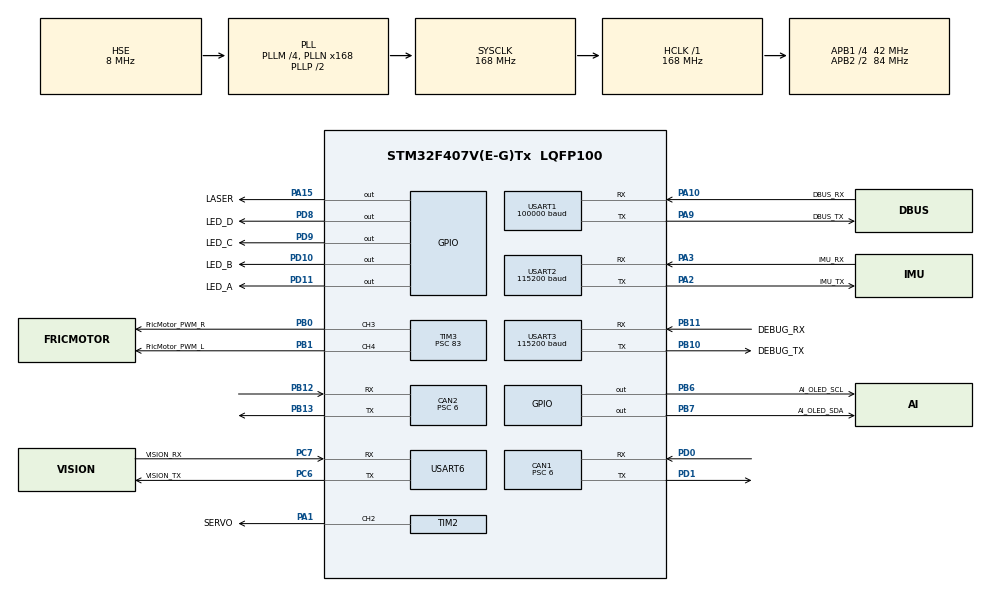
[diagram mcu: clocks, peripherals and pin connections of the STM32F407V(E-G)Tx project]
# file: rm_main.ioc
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CAN1.ABOM=ENABLE
CAN1.BS1=CAN_BS1_3TQ
CAN1.BS2=CAN_BS2_3TQ
CAN1.CalculateTimeQuantum=142.85714285714286
CAN1.Prescaler=6
CAN1.SJW=CAN_SJW_1TQ
CAN2.ABOM=ENABLE
CAN2.BS1=CAN_BS1_3TQ
CAN2.BS2=CAN_BS2_3TQ
CAN2.CalculateTimeQuantum=142.85714285714286
CAN2.Prescaler=6
Dma.Request0=USART1_RX
Dma.Request1=USART2_RX
Dma.Request2=USART6_RX
Dma.Request3=USART3_RX
Dma.Request4=USART3_TX
Dma.USART1_RX.0.Direction=DMA_PERIPH_TO_MEMORY
Dma.USART1_RX.0.FIFOMode=DMA_FIFOMODE_DISABLE
Dma.USART1_RX.0.Instance=DMA2_Stream2
Dma.USART1_RX.0.MemDataAlignment=DMA_MDATAALIGN_BYTE
Dma.USART1_RX.0.MemInc=DMA_MINC_ENABLE
Dma.USART1_RX.0.Mode=DMA_NORMAL
Dma.USART1_RX.0.PeriphDataAlignment=DMA_PDATAALIGN_BYTE
Dma.USART1_RX.0.PeriphInc=DMA_PINC_DISABLE
Dma.USART1_RX.0.Priority=DMA_PRIORITY_LOW
Dma.USART2_RX.1.Direction=DMA_PERIPH_TO_MEMORY
Dma.USART2_RX.1.FIFOMode=DMA_FIFOMODE_DISABLE
Dma.USART2_RX.1.Instance=DMA1_Stream5
Dma.USART2_RX.1.MemDataAlignment=DMA_MDATAALIGN_BYTE
Dma.USART2_RX.1.MemInc=DMA_MINC_ENABLE
Dma.USART2_RX.1.Mode=DMA_NORMAL
Dma.USART2_RX.1.PeriphDataAlignment=DMA_PDATAALIGN_BYTE
Dma.USART2_RX.1.PeriphInc=DMA_PINC_DISABLE
Dma.USART2_RX.1.Priority=DMA_PRIORITY_LOW
Dma.USART3_RX.3.Direction=DMA_PERIPH_TO_MEMORY
Dma.USART3_RX.3.FIFOMode=DMA_FIFOMODE_DISABLE
Dma.USART3_RX.3.Instance=DMA1_Stream1
Dma.USART3_RX.3.MemDataAlignment=DMA_MDATAALIGN_BYTE
Dma.USART3_RX.3.MemInc=DMA_MINC_ENABLE
Dma.USART3_RX.3.Mode=DMA_NORMAL
Dma.USART3_RX.3.PeriphDataAlignment=DMA_PDATAALIGN_BYTE
Dma.USART3_RX.3.PeriphInc=DMA_PINC_DISABLE
Dma.USART3_RX.3.Priority=DMA_PRIORITY_LOW
Dma.USART3_TX.4.Direction=DMA_MEMORY_TO_PERIPH
Dma.USART3_TX.4.FIFOMode=DMA_FIFOMODE_DISABLE
Dma.USART3_TX.4.Instance=DMA1_Stream3
Dma.USART3_TX.4.MemDataAlignment=DMA_MDATAALIGN_BYTE
Dma.USART3_TX.4.MemInc=DMA_MINC_ENABLE
Dma.USART3_TX.4.Mode=DMA_NORMAL
Dma.USART3_TX.4.PeriphDataAlignment=DMA_PDATAALIGN_BYTE
Dma.USART3_TX.4.PeriphInc=DMA_PINC_DISABLE
Dma.USART3_TX.4.Priority=DMA_PRIORITY_LOW
Dma.USART6_RX.2.Direction=DMA_PERIPH_TO_MEMORY
Dma.USART6_RX.2.FIFOMode=DMA_FIFOMODE_DISABLE
Dma.USART6_RX.2.Instance=DMA2_Stream1
Dma.USART6_RX.2.MemDataAlignment=DMA_MDATAALIGN_BYTE
Dma.USART6_RX.2.MemInc=DMA_MINC_ENABLE
Dma.USART6_RX.2.Mode=DMA_NORMAL
Dma.USART6_RX.2.PeriphDataAlignment=DMA_PDATAALIGN_BYTE
Dma.USART6_RX.2.PeriphInc=DMA_PINC_DISABLE
Dma.USART6_RX.2.Priority=DMA_PRIORITY_LOW
FREERTOS.INCLUDE_vTaskDelayUntil=1
FREERTOS.Tasks01=defaultTask,0,128,StartDefaultTask,Default,NULL
FREERTOS.configUSE_TIMERS=1
Mcu.Family=STM32F4
Mcu.Name=STM32F407V(E-G)Tx
Mcu.Package=LQFP100
NVIC.CAN1_RX0_IRQn=true\:5\:0\:false\:false\:true\:true\:true
NVIC.CAN1_TX_IRQn=true\:5\:0\:false\:false\:true\:true\:true
NVIC.CAN2_RX0_IRQn=true\:5\:0\:false\:false\:true\:true\:true
NVIC.CAN2_TX_IRQn=true\:5\:0\:false\:false\:true\:true\:true
NVIC.DMA1_Stream1_IRQn=true\:5\:0\:false\:false\:true\:true\:false
NVIC.DMA1_Stream3_IRQn=true\:5\:0\:false\:false\:true\:true\:false
NVIC.DMA1_Stream5_IRQn=true\:5\:0\:false\:false\:true\:true\:false
NVIC.DMA2_Stream1_IRQn=true\:5\:0\:false\:false\:true\:true\:false
NVIC.DMA2_Stream2_IRQn=true\:5\:0\:false\:false\:true\:true\:false
NVIC.PriorityGroup=NVIC_PRIORITYGROUP_4
NVIC.TIM1_UP_TIM10_IRQn=true\:0\:0\:false\:false\:true\:false\:false
NVIC.TimeBase=TIM1_UP_TIM10_IRQn
NVIC.TimeBaseIP=TIM10
NVIC.USART1_IRQn=true\:5\:0\:false\:false\:true\:true\:true
NVIC.USART2_IRQn=true\:5\:0\:false\:false\:true\:true\:true
NVIC.USART3_IRQn=true\:5\:0\:false\:false\:true\:true\:true
NVIC.USART6_IRQn=true\:5\:0\:false\:false\:true\:true\:true
PA1.GPIO_Label=SERVO
PA1.Signal=S_TIM2_CH2
PA10.GPIO_Label=DBUS_RX
PA10.Mode=Asynchronous
PA10.Signal=USART1_RX
PA13.Mode=Serial_Wire
PA13.Signal=SYS_JTMS-SWDIO
PA14.Mode=Serial_Wire
PA14.Signal=SYS_JTCK-SWCLK
PA15.GPIO_Label=LASER
PA15.Signal=GPIO_Output
PA2.GPIO_Label=IMU_TX
PA2.Mode=Asynchronous
PA2.Signal=USART2_TX
PA3.GPIO_Label=IMU_RX
PA3.Mode=Asynchronous
PA3.Signal=USART2_RX
PA9.GPIO_Label=DBUS_TX
PA9.Mode=Asynchronous
PA9.Signal=USART1_TX
PB0.GPIO_Label=FricMotor_PWM_R
PB0.Signal=S_TIM3_CH3
PB1.GPIO_Label=FricMotor_PWM_L
PB1.Signal=S_TIM3_CH4
PB10.GPIO_Label=DEBUG_TX
PB10.Mode=Asynchronous
PB10.Signal=USART3_TX
PB11.GPIO_Label=DEBUG_RX
PB11.Mode=Asynchronous
PB11.Signal=USART3_RX
PB12.Mode=Slave
PB12.Signal=CAN2_RX
PB13.Mode=Slave
PB13.Signal=CAN2_TX
PB6.GPIO_Label=AI_OLED_SCL
PB6.Signal=GPIO_Output
PB7.GPIO_Label=AI_OLED_SDA
PB7.Signal=GPIO_Output
PC6.GPIO_Label=VISION_TX
PC6.Mode=Asynchronous
PC6.Signal=USART6_TX
PC7.GPIO_Label=VISION_RX
PC7.Mode=Asynchronous
PC7.Signal=USART6_RX
PD0.Mode=Master
PD0.Signal=CAN1_RX
PD1.Mode=Master
PD1.Signal=CAN1_TX
PD10.GPIO_Label=LED_B
PD10.PinState=GPIO_PIN_SET
PD10.Signal=GPIO_Output
PD11.GPIO_Label=LED_A
PD11.GPIO_Speed=GPIO_SPEED_FREQ_LOW
PD11.PinState=GPIO_PIN_SET
PD11.Signal=GPIO_Output
PD8.GPIO_Label=LED_D
PD8.PinState=GPIO_PIN_SET
PD8.Signal=GPIO_Output
PD9.GPIO_Label=LED_C
PD9.PinState=GPIO_PIN_SET
PD9.Signal=GPIO_Output
PH0-OSC_IN.Mode=HSE-External-Oscillator
PH0-OSC_IN.Signal=RCC_OSC_IN
PH1-OSC_OUT.Mode=HSE-External-Oscillator
PH1-OSC_OUT.Signal=RCC_OSC_OUT
ProjectManager.HeapSize=0x1000
ProjectManager.StackSize=0x600
ProjectManager.TargetToolchain=MDK-ARM V5
RCC.48MHZClocksFreq_Value=48000000
RCC.AHBFreq_Value=168000000
RCC.APB1CLKDivider=RCC_HCLK_DIV4
RCC.APB1Freq_Value=42000000
RCC.APB1TimFreq_Value=84000000
RCC.APB2CLKDivider=RCC_HCLK_DIV2
RCC.APB2Freq_Value=84000000
RCC.APB2TimFreq_Value=168000000
RCC.CortexFreq_Value=168000000
RCC.HCLKFreq_Value=168000000
RCC.HSE_VALUE=8000000
RCC.HSI_VALUE=16000000
RCC.LSE_VALUE=32768
RCC.PLLM=4
RCC.PLLN=168
RCC.PLLQ=7
RCC.PLLSourceVirtual=RCC_PLLSOURCE_HSE
RCC.SYSCLKFreq_VALUE=168000000
RCC.SYSCLKSource=RCC_SYSCLKSOURCE_PLLCLK
RCC.VCOOutputFreq_Value=336000000
SH.S_TIM2_CH2.0=TIM2_CH2,PWM Generation2 CH2
SH.S_TIM3_CH3.0=TIM3_CH3,PWM Generation3 CH3
SH.S_TIM3_CH4.0=TIM3_CH4,PWM Generation4 CH4
TIM13.Period=19999
TIM13.Prescaler=83
TIM2.Channel-PWM\ Generation2\ CH2=TIM_CHANNEL_2
TIM2.Period=19999
TIM2.Prescaler=83
TIM3.Channel-PWM\ Generation3\ CH3=TIM_CHANNEL_3
TIM3.Channel-PWM\ Generation4\ CH4=TIM_CHANNEL_4
TIM3.Period=19999
TIM3.Prescaler=83
TIM3.Pulse-PWM\ Generation3\ CH3=800
TIM3.Pulse-PWM\ Generation4\ CH4=800
USART1.BaudRate=100000
USART1.VirtualMode=VM_ASYNC
USART2.BaudRate=115200
USART2.VirtualMode=VM_ASYNC
USART3.BaudRate=115200
USART3.VirtualMode=VM_ASYNC
USART6.VirtualMode=VM_ASYNC
VP_FREERTOS_VS_ENABLE.Mode=Enabled
VP_SYS_VS_tim10.Mode=TIM10
VP_TIM13_VS_ClockSourceINT.Mode=Enable_Timer
board=custom

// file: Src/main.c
/**
  ******************************************************************************
  * @file           : main.c
  * @brief          : Main program body
  ******************************************************************************
  * This notice applies to any and all portions of this file
  * that are not between comment pairs USER CODE BEGIN and
  * USER CODE END. Other portions of this file, whether
  * inserted by the user or by software development tools
  * are owned by their respective copyright owners.
  *
  * Copyright (c) 2019 STMicroelectronics International N.V.
  * All rights reserved.
  *
  * Redistribution and use in source and binary forms, with or without
  * modification, are permitted, provided that the following conditions are met:
  *
  * 1. Redistribution of source code must retain the above copyright notice,
  *    this list of conditions and the following disclaimer.
  * 2. Redistributions in binary form must reproduce the above copyright notice,
  *    this list of conditions and the following disclaimer in the documentation
  *    and/or other materials provided with the distribution.
  * 3. Neither the name of STMicroelectronics nor the names of other
  *    contributors to this software may be used to endorse or promote products
  *    derived from this software without specific written permission.
  * 4. This software, including modifications and/or derivative works of this
  *    software, must execute solely and exclusively on microcontroller or
  *    microprocessor devices manufactured by or for STMicroelectronics.
  * 5. Redistribution and use of this software other than as permitted under
  *    this license is void and will automatically terminate your rights under
  *    this license.
  *
  * THIS SOFTWARE IS PROVIDED BY STMICROELECTRONICS AND CONTRIBUTORS "AS IS"
  * AND ANY EXPRESS, IMPLIED OR STATUTORY WARRANTIES, INCLUDING, BUT NOT
  * LIMITED TO, THE IMPLIED WARRANTIES OF MERCHANTABILITY, FITNESS FOR A
  * PARTICULAR PURPOSE AND NON-INFRINGEMENT OF THIRD PARTY INTELLECTUAL PROPERTY
  * RIGHTS ARE DISCLAIMED TO THE FULLEST EXTENT PERMITTED BY LAW. IN NO EVENT
  * SHALL STMICROELECTRONICS OR CONTRIBUTORS BE LIABLE FOR ANY DIRECT, INDIRECT,
  * INCIDENTAL, SPECIAL, EXEMPLARY, OR CONSEQUENTIAL DAMAGES (INCLUDING, BUT NOT
  * LIMITED TO, PROCUREMENT OF SUBSTITUTE GOODS OR SERVICES; LOSS OF USE, DATA,
  * OR PROFITS; OR BUSINESS INTERRUPTION) HOWEVER CAUSED AND ON ANY THEORY OF
  * LIABILITY, WHETHER IN CONTRACT, STRICT LIABILITY, OR TORT (INCLUDING
  * NEGLIGENCE OR OTHERWISE) ARISING IN ANY WAY OUT OF THE USE OF THIS SOFTWARE,
  * EVEN IF ADVISED OF THE POSSIBILITY OF SUCH DAMAGE.
  *
  ******************************************************************************
  */
#include "main.h"
#include "stm32f4xx_hal.h"
#include "cmsis_os.h"
#include "can.h"
#include "dma.h"
#include "tim.h"
#include "usart.h"
#include "gpio.h"

/* USER CODE BEGIN Includes */
#include "bsp_can.h"
#include "bsp_uart.h"
#include "chassis_task.h"
#include "gimbal_task.h"
#include "status_task.h"
#include "shoot_task.h"
#include "modeswitch_task.h"
#include "bsp_powerlimit.h"
#include "visionfire_task.h"
#include "judge_unpack_task.h"
/* USER CODE END Includes */

/* USER CODE BEGIN PV */
/* Private variables ---------------------------------------------------------*/

/* USER CODE END PV */

void SystemClock_Config(void);
void MX_FREERTOS_Init(void);

/* USER CODE BEGIN PFP */
/* Private function prototypes -----------------------------------------------*/

/* USER CODE END PFP */

int main(void)
{

  /* MCU Configuration----------------------------------------------------------*/

  /* Reset of all peripherals, Initializes the Flash interface and the Systick. */

  HAL_Init();

  /* Configure the system clock */
  SystemClock_Config();

  /* Initialize all configured peripherals */
  MX_GPIO_Init();
  MX_DMA_Init();
  MX_USART2_UART_Init();
  MX_USART1_UART_Init();
  MX_CAN1_Init();
  MX_USART6_UART_Init();
  MX_CAN2_Init();
  MX_TIM13_Init();
  MX_USART3_UART_Init();
  MX_TIM3_Init();
  MX_TIM2_Init();
  /* USER CODE BEGIN 2 */
	status_init();
	//�����ʼ��?
	HAL_Delay(5500);
	 HAL_GPIO_WritePin(GPIOD, LED_D_Pin|LED_C_Pin|LED_B_Pin, GPIO_PIN_SET);
	can_device_init();
	chassis_init();
	power_limit_init();
	judge_unpack_task_Init();
	uart_init();
	shoot_init();
	HAL_Delay(1000);
	gimbal_param_init();
  status_init_success();
	kal_init();
	//HAL_Delay(1000);
	//init success
  /* USER CODE END 2 */

  /* Call init function for freertos objects (in freertos.c) */
  MX_FREERTOS_Init();

  /* Start scheduler */
  osKernelStart();

  /* We should never get here as control is now taken by the scheduler */

  /* Infinite loop */
  while (1)
  {

  }

}

void SystemClock_Config(void)
{

  RCC_OscInitTypeDef RCC_OscInitStruct;
  RCC_ClkInitTypeDef RCC_ClkInitStruct;

    /**Configure the main internal regulator output voltage
    */
  __HAL_RCC_PWR_CLK_ENABLE();

  __HAL_PWR_VOLTAGESCALING_CONFIG(PWR_REGULATOR_VOLTAGE_SCALE1);

    /**Initializes the CPU, AHB and APB busses clocks
    */
  RCC_OscInitStruct.OscillatorType = RCC_OSCILLATORTYPE_HSE;
  RCC_OscInitStruct.HSEState = RCC_HSE_ON;
  RCC_OscInitStruct.PLL.PLLState = RCC_PLL_ON;
  RCC_OscInitStruct.PLL.PLLSource = RCC_PLLSOURCE_HSE;
  RCC_OscInitStruct.PLL.PLLM = 4;
  RCC_OscInitStruct.PLL.PLLN = 168;
  RCC_OscInitStruct.PLL.PLLP = RCC_PLLP_DIV2;
  RCC_OscInitStruct.PLL.PLLQ = 7;
  if (HAL_RCC_OscConfig(&RCC_OscInitStruct) != HAL_OK)
  {
    _Error_Handler(__FILE__, __LINE__);
  }

    /**Initializes the CPU, AHB and APB busses clocks
    */
  RCC_ClkInitStruct.ClockType = RCC_CLOCKTYPE_HCLK|RCC_CLOCKTYPE_SYSCLK
                              |RCC_CLOCKTYPE_PCLK1|RCC_CLOCKTYPE_PCLK2;
  RCC_ClkInitStruct.SYSCLKSource = RCC_SYSCLKSOURCE_PLLCLK;
  RCC_ClkInitStruct.AHBCLKDivider = RCC_SYSCLK_DIV1;
  RCC_ClkInitStruct.APB1CLKDivider = RCC_HCLK_DIV4;
  RCC_ClkInitStruct.APB2CLKDivider = RCC_HCLK_DIV2;

  if (HAL_RCC_ClockConfig(&RCC_ClkInitStruct, FLASH_LATENCY_5) != HAL_OK)
  {
    _Error_Handler(__FILE__, __LINE__);
  }

    /**Configure the Systick interrupt time
    */
  HAL_SYSTICK_Config(HAL_RCC_GetHCLKFreq()/1000);

    /**Configure the Systick
    */
  HAL_SYSTICK_CLKSourceConfig(SYSTICK_CLKSOURCE_HCLK);

  /* SysTick_IRQn interrupt configuration */
  HAL_NVIC_SetPriority(SysTick_IRQn, 15, 0);
}

void HAL_TIM_PeriodElapsedCallback(TIM_HandleTypeDef *htim)
{
  if (htim->Instance == TIM10) {
    HAL_IncTick();
  }
}

void _Error_Handler(char *file, int line)
{
  while(1)
  {
  }
}

/************************ (C) COPYRIGHT STMicroelectronics *****END OF FILE****/
